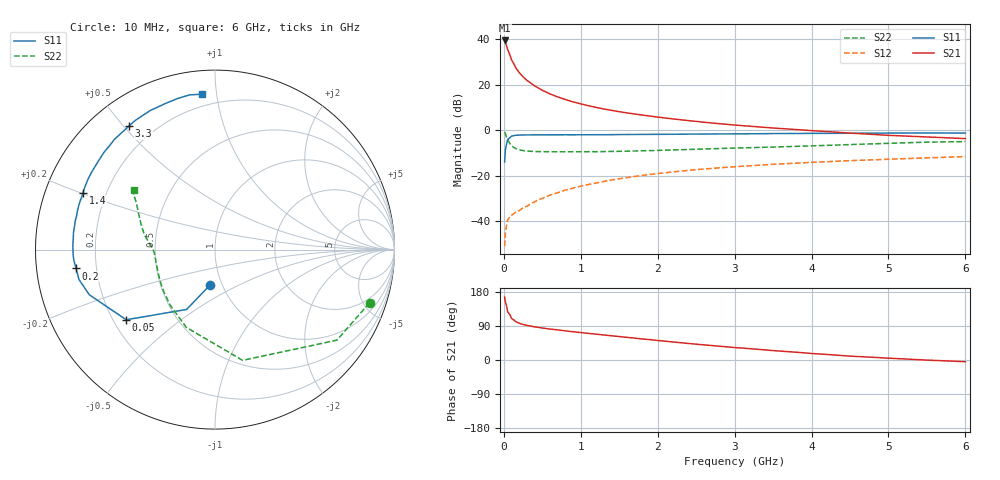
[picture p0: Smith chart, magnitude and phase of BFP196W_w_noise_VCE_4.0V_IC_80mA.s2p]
! Infineon Technologies  Discrete & RF Semiconductors
! BFP196W
! VCE =  4.0 V,  IC =  80 mA
! Common Emitter S-Parameters:  Jan 2017
# GHz  S  MA  R  50
!  f  S11  S21  S12  S22
! GHz  MAG  ANG  MAG  ANG  MAG  ANG  MAG  ANG
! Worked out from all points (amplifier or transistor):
!   77 points, 10 MHz to 6 GHz, reference 50 ohm
!   highest |S21| = 39.6 dB at 10 MHz (marker M1)
!   |S21| within 3 dB of that: start of sweep to 40.36 MHz
!   unconditionally stable (mu >= 1): 518.9 MHz to 3.291 GHz
!   at 130 MHz: K = 0.55, MSG = 33.0 dB, |S12| = -36.7 dB
!   at 2.2 GHz: K = 1.04, MAG = 10.5 dB, |S12| = -18.4 dB
!   at 6 GHz: K = 0.96, MSG = 4.0 dB, |S12| = -11.6 dB
!   lowest NFmin = 1.68 dB at 450 MHz
!   S11 on the Smith chart (normalised r, x): 10 MHz: 0.87, -0.36; 50 MHz: 0.25, -0.33; 200 MHz: 0.12, -0.07; 1.4 GHz: 0.12, +0.20; 3.3 GHz: 0.11, +0.52; 6 GHz: 0.13, +0.91
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0.01  0.2009 -98.3  95.05 166.2  0.0028 76.5  0.9104 -19.0
0.02  0.3691 -115.4  87.23 152.8  0.0054 75.0  0.8462 -36.6
0.05  0.6305 -141.7  60.25 127.2  0.0108 49.9  0.6359 -76.0
0.1  0.7439 -160.2  35.55 109.5  0.0134 44.9  0.4619 -110.3
0.15  0.776 -167.6  24.6 101.8  0.0154 46.5  0.3982 -128.8
0.2  0.7813 -172.3  18.66 97.0  0.017 51.5  0.3716 -139.5
0.25  0.7886 -175.6  15 93.7  0.0196 54.4  0.3575 -147.2
0.3  0.7909 -177.9  12.53 91.3  0.0213 56.0  0.3489 -152.3
0.4  0.7924 178.4  9.467 87.4  0.0267 60.1  0.3409 -159.1
0.5  0.7921 175.5  7.579 84.4  0.0317 62.7  0.3374 -163.6
0.6  0.7942 173.0  6.336 81.7  0.0374 64.1  0.3375 -166.7
0.7  0.7934 170.8  5.426 79.4  0.042 66.2  0.3357 -169.1
0.9  0.7937 166.3  4.217 74.6  0.0533 66.3  0.3364 -172.5
1.1  0.7978 162.4  3.473 70.3  0.0639 66.4  0.3377 -175.0
1.4  0.8005 156.7  2.751 63.9  0.0804 64.6  0.3417 -178.5
1.7  0.8089 151.1  2.28 57.7  0.0958 62.9  0.3494 178.5
2.1  0.8144 143.8  1.862 49.6  0.1161 58.8  0.3643 175.0
3.1  0.8342 127.8  1.264 31.5  0.1612 49.1  0.4096 166.3
3.3  0.8388 124.8  1.19 28.3  0.1693 47.3  0.4181 164.5
4.1  0.8549 113.7  0.959 15.9  0.1998 40.2  0.4588 156.7
5.1  0.8681 103.0  0.76 3.8  0.2332 31.9  0.5218 148.1
6  0.8688 94.6  0.655 -4.6  0.2624 24.7  0.5634 143.6
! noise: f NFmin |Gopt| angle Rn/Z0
0.45  1.68  0.56  -175  0.06
0.9  1.8  0.59  -169  0.08
1.9  2.67  0.7  -148  0.2
2.4  3.09  0.74  -143  0.32
